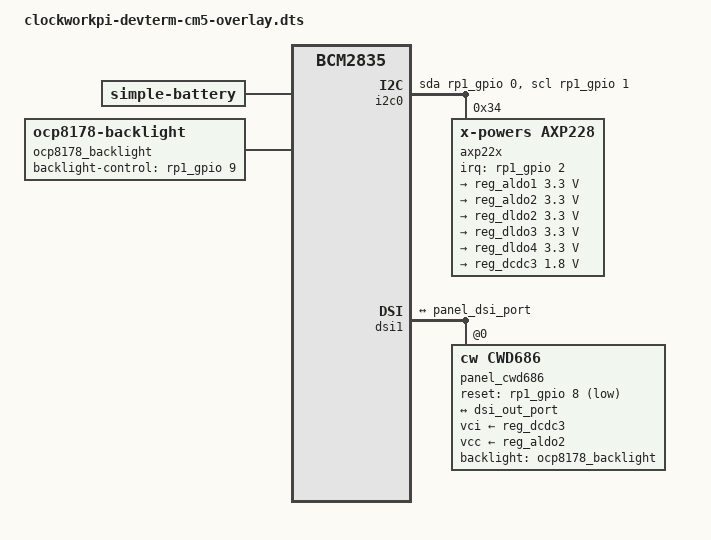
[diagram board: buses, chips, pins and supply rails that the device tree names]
/dts-v1/;
/plugin/;

#include <dt-bindings/gpio/gpio.h>

/ {
	compatible = "brcm,bcm2835";
	fragment@0 {
		target = <&i2c0>;
		__overlay__ {
			#address-cells = <1>;
			#size-cells = <0>;
			compatible = "i2c-gpio";
			reg = <3>;
			pinctrl-0 = <&i2c0_pins>;
			pinctrl-names = "default";
			gpios = <&rp1_gpio 0 (GPIO_ACTIVE_HIGH|GPIO_OPEN_DRAIN)
					&rp1_gpio 1 (GPIO_ACTIVE_HIGH|GPIO_OPEN_DRAIN)>;
			i2c-gpio,delay-us = <2>;
			status = "okay";
			axp22x: pmic@34 {
				interrupt-controller;
				#interrupt-cells = <1>;
				compatible = "x-powers,axp228", "x-powers,axp223", "x-powers,axp221";
				reg = <0x34>;
				interrupt-parent = <&rp1_gpio>;
				interrupts = <2 8>; /* Adjusted IRQ for RP1 */
				irq-gpios = <&rp1_gpio 2 0>;
				regulators {
					x-powers,dcdc-freq = <3000>;
					reg_aldo1: aldo1 {
						regulator-always-on;
						regulator-min-microvolt = <3300000>;
						regulator-max-microvolt = <3300000>;
						regulator-name = "audio-vdd";
					};
					reg_aldo2: aldo2 {
						regulator-always-on;
						regulator-min-microvolt = <3300000>;
						regulator-max-microvolt = <3300000>;
						regulator-name = "display-vcc";
					};
					reg_dldo2: dldo2 {
						regulator-always-on;
						regulator-min-microvolt = <3300000>;
						regulator-max-microvolt = <3300000>;
						regulator-name = "dldo2";
					};
					reg_dldo3: dldo3 {
						regulator-always-on;
						regulator-min-microvolt = <3300000>;
						regulator-max-microvolt = <3300000>;
						regulator-name = "dldo3";
					};
					reg_dldo4: dldo4 {
						regulator-always-on;
						regulator-min-microvolt = <3300000>;
						regulator-max-microvolt = <3300000>;
						regulator-name = "dldo4";
					};
					reg_dcdc3: dcdc3 {
						regulator-name = "sys-1v8";
						regulator-always-on;
						regulator-min-microvolt = <1800000>;
						regulator-max-microvolt = <1800000>;
					};
				};
				battery_power_supply: battery-power-supply {
					compatible = "x-powers,axp221-battery-power-supply";
					monitored-battery = <&battery>;
				};
				ac_power_supply: ac_power_supply {
					compatible = "x-powers,axp221-ac-power-supply";
				};
				axp_adc: adc {
					compatible = "x-powers,axp221-adc";
					#io-channel-cells = <1>;
				};
				axp_gpio: gpio {
					compatible = "x-powers,axp221-gpio";
					#gpio-cells = <2>;
					gpio-controller;
					status = "disabled";
					gpio0_out: gpio0-out-pin {
						pins = "GPIO0";
						function = "gpio_out";
					};
				};
			};
		};
	};
	fragment@1 {
		target-path = "/";
		__overlay__  {
			battery: battery@0 {
				compatible = "simple-battery";
				device-chemistry = "lithium-ion";
				constant-charge-current-max-microamp = <2100000>;
				voltage-max-design-microvolt = <4200000>;
				re-charge-voltage-microvolt = <4000000>;
				voltage-min-design-microvolt = <2900000>;
				energy-full-design-microwatt-hours = <24790000>;
				charge-full-design-microamp-hours = <6700000>;
			};
		};
	};
	fragment@2 {
		target-path = "/";
		__overlay__ {
			ocp8178_backlight: backlight@0 {
				compatible = "ocp8178-backlight";
				backlight-control-gpios = <&rp1_gpio 9 0>;
				default-brightness = <5>;
			};
		};
	};
	fragment@3 {
		target = <&dsi1>; // dsi1 has iommu property
		__overlay__ {
			#address-cells = <1>;
			#size-cells = <0>;
			status = "okay";
			port {
				dsi_out_port: endpoint {
					remote-endpoint = <&panel_dsi_port>;
				};
			};
			panel_cwd686: panel@0 {
				compatible = "cw,cwd686";
				reg = <0>;
				reset-gpio = <&rp1_gpio 8 1>;
				backlight = <&ocp8178_backlight>;
				rotation = <90>;
				vci-supply = <&reg_dcdc3>;
				vcc-supply = <&reg_aldo2>;
				port {
					panel_dsi_port: endpoint {
						remote-endpoint = <&dsi_out_port>;
					};
				};
			};
		};
	};
};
